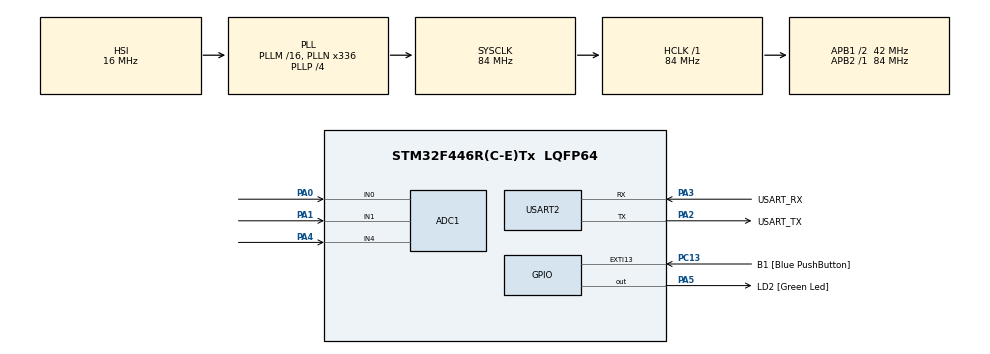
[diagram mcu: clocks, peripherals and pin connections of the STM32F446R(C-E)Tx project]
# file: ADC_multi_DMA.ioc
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ADC1.Channel-0\#ChannelRegularConversion=ADC_CHANNEL_4
ADC1.Channel-1\#ChannelRegularConversion=ADC_CHANNEL_1
ADC1.Channel-3\#ChannelRegularConversion=ADC_CHANNEL_0
ADC1.Channel-4\#ChannelRegularConversion=ADC_CHANNEL_TEMPSENSOR
ADC1.ContinuousConvMode=DISABLE
ADC1.DMAContinuousRequests=ENABLE
ADC1.EOCSelection=ADC_EOC_SEQ_CONV
ADC1.ExternalTrigConv=ADC_EXTERNALTRIGCONV_T3_TRGO
ADC1.InjNumberOfConversion=0
ADC1.NbrOfConversion=4
ADC1.NbrOfConversionFlag=1
ADC1.Rank-0\#ChannelRegularConversion=1
ADC1.Rank-1\#ChannelRegularConversion=2
ADC1.Rank-3\#ChannelRegularConversion=3
ADC1.Rank-4\#ChannelRegularConversion=4
ADC1.SamplingTime-0\#ChannelRegularConversion=ADC_SAMPLETIME_15CYCLES
ADC1.SamplingTime-1\#ChannelRegularConversion=ADC_SAMPLETIME_15CYCLES
ADC1.SamplingTime-3\#ChannelRegularConversion=ADC_SAMPLETIME_15CYCLES
ADC1.SamplingTime-4\#ChannelRegularConversion=ADC_SAMPLETIME_3CYCLES
ADC1.master=1
Dma.ADC1.0.Direction=DMA_PERIPH_TO_MEMORY
Dma.ADC1.0.FIFOMode=DMA_FIFOMODE_DISABLE
Dma.ADC1.0.Instance=DMA2_Stream0
Dma.ADC1.0.MemDataAlignment=DMA_MDATAALIGN_HALFWORD
Dma.ADC1.0.MemInc=DMA_MINC_ENABLE
Dma.ADC1.0.Mode=DMA_NORMAL
Dma.ADC1.0.PeriphDataAlignment=DMA_PDATAALIGN_HALFWORD
Dma.ADC1.0.PeriphInc=DMA_PINC_DISABLE
Dma.ADC1.0.Priority=DMA_PRIORITY_LOW
Dma.Request0=ADC1
Mcu.Family=STM32F4
Mcu.Name=STM32F446R(C-E)Tx
Mcu.Package=LQFP64
NVIC.DMA2_Stream0_IRQn=true\:0\:0\:false\:false\:true\:false\:true
NVIC.PriorityGroup=NVIC_PRIORITYGROUP_0
PA0-WKUP.Signal=ADCx_IN0
PA1.Signal=ADCx_IN1
PA13.GPIO_Label=TMS
PA13.Mode=Serial_Wire
PA13.Signal=SYS_JTMS-SWDIO
PA14.GPIO_Label=TCK
PA14.Mode=Serial_Wire
PA14.Signal=SYS_JTCK-SWCLK
PA2.GPIO_Label=USART_TX
PA2.Mode=Asynchronous
PA2.Signal=USART2_TX
PA3.GPIO_Label=USART_RX
PA3.Mode=Asynchronous
PA3.Signal=USART2_RX
PA4.Signal=ADCx_IN4
PA5.GPIO_Label=LD2 [Green Led]
PA5.Signal=GPIO_Output
PB3.GPIO_Label=SWO
PB3.Signal=SYS_JTDO-SWO
PC13.GPIO_Label=B1 [Blue PushButton]
PC13.GPIO_ModeDefaultEXTI=GPIO_MODE_IT_FALLING
PC13.Signal=GPXTI13
PC14-OSC32_IN.Mode=LSE-External-Oscillator
PC14-OSC32_IN.Signal=RCC_OSC32_IN
PC15-OSC32_OUT.Mode=LSE-External-Oscillator
PC15-OSC32_OUT.Signal=RCC_OSC32_OUT
PH0-OSC_IN.Mode=HSE-External-Oscillator
PH0-OSC_IN.Signal=RCC_OSC_IN
PH1-OSC_OUT.Mode=HSE-External-Oscillator
PH1-OSC_OUT.Signal=RCC_OSC_OUT
ProjectManager.HeapSize=0x200
ProjectManager.StackSize=0x400
ProjectManager.TargetToolchain=TrueSTUDIO
RCC.48MHZClocksFreq_Value=84000000
RCC.AHBFreq_Value=84000000
RCC.APB1CLKDivider=RCC_HCLK_DIV2
RCC.APB1Freq_Value=42000000
RCC.APB1TimFreq_Value=84000000
RCC.APB2Freq_Value=84000000
RCC.APB2TimFreq_Value=84000000
RCC.CortexFreq_Value=84000000
RCC.FLatency-AdvancedSettings=FLASH_LATENCY_2
RCC.HCLKFreq_Value=84000000
RCC.HSE_VALUE=8000000
RCC.HSI_VALUE=16000000
RCC.PLLN=336
RCC.PLLP=RCC_PLLP_DIV4
RCC.SYSCLKFreq_VALUE=84000000
RCC.SYSCLKSource=RCC_SYSCLKSOURCE_PLLCLK
RCC.USBFreq_Value=168000000
RCC.VCOOutputFreq_Value=336000000
SH.ADCx_IN0.0=ADC1_IN0,IN0
SH.ADCx_IN1.0=ADC1_IN1,IN1
SH.ADCx_IN4.0=ADC1_IN4,IN4
TIM3.Period=399
TIM3.Prescaler=8399
TIM3.TIM_MasterOutputTrigger=TIM_TRGO_UPDATE
USART2.VirtualMode=VM_ASYNC
VP_ADC1_TempSens_Input.Mode=IN-TempSens
VP_TIM3_VS_ClockSourceINT.Mode=Internal
board=NUCLEO-F446RE

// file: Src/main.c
/* USER CODE BEGIN Header */
/**
  ******************************************************************************
  * @file           : main.c
  * @brief          : Main program body
  ******************************************************************************
  ** This notice applies to any and all portions of this file
  * that are not between comment pairs USER CODE BEGIN and
  * USER CODE END. Other portions of this file, whether
  * inserted by the user or by software development tools
  * are owned by their respective copyright owners.
  *
  * COPYRIGHT(c) 2019 STMicroelectronics
  *
  * Redistribution and use in source and binary forms, with or without modification,
  * are permitted provided that the following conditions are met:
  *   1. Redistributions of source code must retain the above copyright notice,
  *      this list of conditions and the following disclaimer.
  *   2. Redistributions in binary form must reproduce the above copyright notice,
  *      this list of conditions and the following disclaimer in the documentation
  *      and/or other materials provided with the distribution.
  *   3. Neither the name of STMicroelectronics nor the names of its contributors
  *      may be used to endorse or promote products derived from this software
  *      without specific prior written permission.
  *
  * THIS SOFTWARE IS PROVIDED BY THE COPYRIGHT HOLDERS AND CONTRIBUTORS "AS IS"
  * AND ANY EXPRESS OR IMPLIED WARRANTIES, INCLUDING, BUT NOT LIMITED TO, THE
  * IMPLIED WARRANTIES OF MERCHANTABILITY AND FITNESS FOR A PARTICULAR PURPOSE ARE
  * DISCLAIMED. IN NO EVENT SHALL THE COPYRIGHT HOLDER OR CONTRIBUTORS BE LIABLE
  * FOR ANY DIRECT, INDIRECT, INCIDENTAL, SPECIAL, EXEMPLARY, OR CONSEQUENTIAL
  * DAMAGES (INCLUDING, BUT NOT LIMITED TO, PROCUREMENT OF SUBSTITUTE GOODS OR
  * SERVICES; LOSS OF USE, DATA, OR PROFITS; OR BUSINESS INTERRUPTION) HOWEVER
  * CAUSED AND ON ANY THEORY OF LIABILITY, WHETHER IN CONTRACT, STRICT LIABILITY,
  * OR TORT (INCLUDING NEGLIGENCE OR OTHERWISE) ARISING IN ANY WAY OUT OF THE USE
  * OF THIS SOFTWARE, EVEN IF ADVISED OF THE POSSIBILITY OF SUCH DAMAGE.
  *
  ******************************************************************************
  */
/* USER CODE END Header */

#include "main.h"
#include "adc.h"
#include "dma.h"
#include "tim.h"
#include "usart.h"
#include "gpio.h"

/* USER CODE BEGIN PD */
#define NDMA 4
#define V25       0.76
#define AVG_SLOPE 0.0025
#define kADC   (3.3/4096)
/* USER CODE END PD */

/* USER CODE BEGIN PV */

uint16_t amostras[NDMA];       //! amostras do AD
uint16_t ach0,ach1,ach4,atemp;
float vch0,vch1,vch4,tempC;

/* USER CODE END PV */

void SystemClock_Config(void);

int main(void)
{

  /* MCU Configuration--------------------------------------------------------*/

  /* Reset of all peripherals, Initializes the Flash interface and the Systick. */
  HAL_Init();

  /* Configure the system clock */
  SystemClock_Config();

  /* Initialize all configured peripherals */
  MX_GPIO_Init();
  MX_DMA_Init();
  MX_USART2_UART_Init();
  MX_ADC1_Init();
  MX_TIM3_Init();
  /* USER CODE BEGIN 2 */
  HAL_ADC_Start_DMA(&hadc1, amostras, NDMA); // Dispara conversões com DMA
  HAL_TIM_Base_Start(&htim3);				// Liga o timer 3
  /* USER CODE END 2 */

  /* Infinite loop */
  while (1)
  {

  }
}

void SystemClock_Config(void)
{
  RCC_OscInitTypeDef RCC_OscInitStruct = {0};
  RCC_ClkInitTypeDef RCC_ClkInitStruct = {0};

  /**Configure the main internal regulator output voltage
  */
  __HAL_RCC_PWR_CLK_ENABLE();
  __HAL_PWR_VOLTAGESCALING_CONFIG(PWR_REGULATOR_VOLTAGE_SCALE3);
  /**Initializes the CPU, AHB and APB busses clocks
  */
  RCC_OscInitStruct.OscillatorType = RCC_OSCILLATORTYPE_HSI;
  RCC_OscInitStruct.HSIState = RCC_HSI_ON;
  RCC_OscInitStruct.HSICalibrationValue = RCC_HSICALIBRATION_DEFAULT;
  RCC_OscInitStruct.PLL.PLLState = RCC_PLL_ON;
  RCC_OscInitStruct.PLL.PLLSource = RCC_PLLSOURCE_HSI;
  RCC_OscInitStruct.PLL.PLLM = 16;
  RCC_OscInitStruct.PLL.PLLN = 336;
  RCC_OscInitStruct.PLL.PLLP = RCC_PLLP_DIV4;
  RCC_OscInitStruct.PLL.PLLQ = 2;
  RCC_OscInitStruct.PLL.PLLR = 2;
  if (HAL_RCC_OscConfig(&RCC_OscInitStruct) != HAL_OK)
  {
    Error_Handler();
  }
  /**Initializes the CPU, AHB and APB busses clocks
  */
  RCC_ClkInitStruct.ClockType = RCC_CLOCKTYPE_HCLK|RCC_CLOCKTYPE_SYSCLK
                              |RCC_CLOCKTYPE_PCLK1|RCC_CLOCKTYPE_PCLK2;
  RCC_ClkInitStruct.SYSCLKSource = RCC_SYSCLKSOURCE_PLLCLK;
  RCC_ClkInitStruct.AHBCLKDivider = RCC_SYSCLK_DIV1;
  RCC_ClkInitStruct.APB1CLKDivider = RCC_HCLK_DIV2;
  RCC_ClkInitStruct.APB2CLKDivider = RCC_HCLK_DIV1;

  if (HAL_RCC_ClockConfig(&RCC_ClkInitStruct, FLASH_LATENCY_2) != HAL_OK)
  {
    Error_Handler();
  }
}

/* USER CODE BEGIN 4 */
void HAL_ADC_ConvCpltCallback(ADC_HandleTypeDef* hadc)
{
	HAL_GPIO_TogglePin(LD2_GPIO_Port, LD2_Pin);
	ach4=amostras[0];
	ach1=amostras[1];
	ach0=amostras[2];
	atemp=amostras[3];

	vch4=kADC*amostras[0];
	vch1=kADC*amostras[1];
	vch0=kADC*amostras[2];
	tempC =((amostras[3]*kADC- V25) / AVG_SLOPE) + 25;

	HAL_ADC_Start_DMA(&hadc1, amostras, NDMA); // Dispara conversões com DMA

}
/* USER CODE END 4 */

void Error_Handler(void)
{
}

/************************ (C) COPYRIGHT STMicroelectronics *****END OF FILE****/
